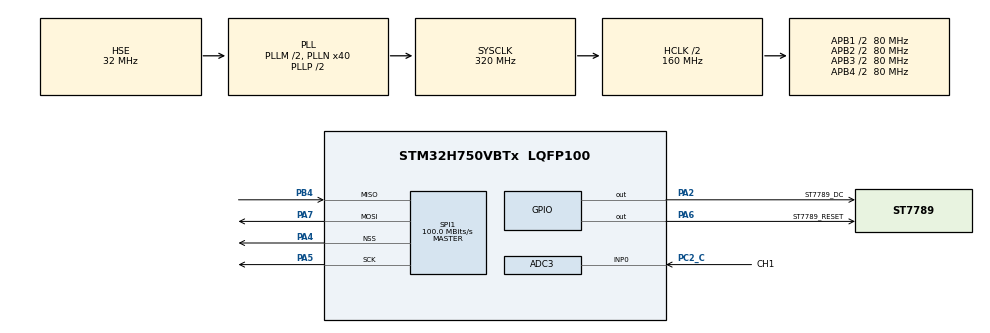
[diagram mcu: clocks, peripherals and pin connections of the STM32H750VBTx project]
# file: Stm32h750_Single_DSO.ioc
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ADC3.Channel-0\#ChannelRegularConversion=ADC_CHANNEL_0
ADC3.ConversionDataManagement=ADC_CONVERSIONDATA_DMA_CIRCULAR
ADC3.EnableAnalogWatchDog1=false
ADC3.ExternalTrigConv=ADC_EXTERNALTRIG_T2_TRGO
ADC3.NbrOfConversion=1
ADC3.NbrOfConversionFlag=1
ADC3.OffsetNumber-0\#ChannelRegularConversion=ADC_OFFSET_NONE
ADC3.OffsetSignedSaturation-0\#ChannelRegularConversion=DISABLE
ADC3.Rank-0\#ChannelRegularConversion=1
ADC3.SamplingTime-0\#ChannelRegularConversion=ADC_SAMPLETIME_64CYCLES_5
CORTEX_M7.AccessPermission_S-Cortex_Memory_Protection_Unit_Region1_Settings_S=MPU_REGION_FULL_ACCESS
CORTEX_M7.BaseAddress_S-Cortex_Memory_Protection_Unit_Region1_Settings_S=0x24000000
CORTEX_M7.CPU_DCache=Enabled
CORTEX_M7.CPU_ICache=Enabled
CORTEX_M7.DisableExec_S-Cortex_Memory_Protection_Unit_Region1_Settings_S=MPU_INSTRUCTION_ACCESS_DISABLE
CORTEX_M7.Enable_S-Cortex_Memory_Protection_Unit_Region1_Settings_S=MPU_REGION_ENABLE
CORTEX_M7.IsBufferable_S-Cortex_Memory_Protection_Unit_Region1_Settings_S=MPU_ACCESS_NOT_BUFFERABLE
CORTEX_M7.IsBufferable_Spec=MPU_ACCESS_NOT_BUFFERABLE
CORTEX_M7.IsShareable_S-Cortex_Memory_Protection_Unit_Region1_Settings_S=MPU_ACCESS_SHAREABLE
CORTEX_M7.Size_S-Cortex_Memory_Protection_Unit_Region1_Settings_S=MPU_REGION_SIZE_512KB
CORTEX_M7.default_mode_Activation=1
DMA2D.ColorMode=DMA2D_OUTPUT_RGB565
DMA2D.Mode=DMA2D_R2M
Dma.ADC3.0.Direction=DMA_PERIPH_TO_MEMORY
Dma.ADC3.0.EventEnable=DISABLE
Dma.ADC3.0.FIFOMode=DMA_FIFOMODE_ENABLE
Dma.ADC3.0.FIFOThreshold=DMA_FIFO_THRESHOLD_FULL
Dma.ADC3.0.Instance=DMA1_Stream0
Dma.ADC3.0.MemBurst=DMA_MBURST_INC8
Dma.ADC3.0.MemDataAlignment=DMA_MDATAALIGN_HALFWORD
Dma.ADC3.0.MemInc=DMA_MINC_ENABLE
Dma.ADC3.0.Mode=DMA_CIRCULAR
Dma.ADC3.0.PeriphBurst=DMA_PBURST_INC8
Dma.ADC3.0.PeriphDataAlignment=DMA_PDATAALIGN_HALFWORD
Dma.ADC3.0.PeriphInc=DMA_PINC_DISABLE
Dma.ADC3.0.Polarity=HAL_DMAMUX_REQ_GEN_RISING
Dma.ADC3.0.Priority=DMA_PRIORITY_VERY_HIGH
Dma.ADC3.0.RequestNumber=1
Dma.ADC3.0.SignalID=NONE
Dma.ADC3.0.SyncEnable=DISABLE
Dma.ADC3.0.SyncPolarity=HAL_DMAMUX_SYNC_NO_EVENT
Dma.ADC3.0.SyncRequestNumber=1
Dma.ADC3.0.SyncSignalID=NONE
Dma.Request0=ADC3
Dma.Request1=SPI1_TX
Dma.SPI1_TX.1.Direction=DMA_MEMORY_TO_PERIPH
Dma.SPI1_TX.1.EventEnable=DISABLE
Dma.SPI1_TX.1.FIFOMode=DMA_FIFOMODE_ENABLE
Dma.SPI1_TX.1.FIFOThreshold=DMA_FIFO_THRESHOLD_FULL
Dma.SPI1_TX.1.Instance=DMA1_Stream1
Dma.SPI1_TX.1.MemBurst=DMA_MBURST_SINGLE
Dma.SPI1_TX.1.MemDataAlignment=DMA_MDATAALIGN_BYTE
Dma.SPI1_TX.1.MemInc=DMA_MINC_ENABLE
Dma.SPI1_TX.1.Mode=DMA_NORMAL
Dma.SPI1_TX.1.PeriphBurst=DMA_PBURST_SINGLE
Dma.SPI1_TX.1.PeriphDataAlignment=DMA_PDATAALIGN_BYTE
Dma.SPI1_TX.1.PeriphInc=DMA_PINC_DISABLE
Dma.SPI1_TX.1.Polarity=HAL_DMAMUX_REQ_GEN_RISING
Dma.SPI1_TX.1.Priority=DMA_PRIORITY_HIGH
Dma.SPI1_TX.1.RequestNumber=1
Dma.SPI1_TX.1.SignalID=NONE
Dma.SPI1_TX.1.SyncEnable=DISABLE
Dma.SPI1_TX.1.SyncPolarity=HAL_DMAMUX_SYNC_NO_EVENT
Dma.SPI1_TX.1.SyncRequestNumber=1
Dma.SPI1_TX.1.SyncSignalID=NONE
FREERTOS.Tasks01=UiController,40,256,UiControllerCallback,Default,NULL,Dynamic,NULL,NULL;DsoCoreTask,8,256,DsoCoreTaskCallback,Default,NULL,Dynamic,NULL,NULL;St7789Driver,48,256,St7789DriverCallback,Default,NULL,Dynamic,NULL,NULL
Mcu.Family=STM32H7
Mcu.Name=STM32H750VBTx
Mcu.Package=LQFP100
Mdma.MDMA_Channel0.Request0=SW
Mdma.MDMA_Channel0.RequestsNb=1
Mdma.MDMA_Channel0.SW.0.BlockCount=4
Mdma.MDMA_Channel0.SW.0.BlockDataLength=5000
Mdma.MDMA_Channel0.SW.0.BufferTransferLength=100
Mdma.MDMA_Channel0.SW.0.CircularMode=MDMA_LINEAR_LIST
Mdma.MDMA_Channel0.SW.0.DataAlignment=MDMA_DATAALIGN_PACKENABLE
Mdma.MDMA_Channel0.SW.0.DestBlockAddressOffset=0
Mdma.MDMA_Channel0.SW.0.DestBurst=MDMA_DEST_BURST_SINGLE
Mdma.MDMA_Channel0.SW.0.DestDataSize=MDMA_DEST_DATASIZE_HALFWORD
Mdma.MDMA_Channel0.SW.0.DestinationInc=MDMA_DEST_INC_HALFWORD
Mdma.MDMA_Channel0.SW.0.DstAddress=0
Mdma.MDMA_Channel0.SW.0.Endianness=MDMA_LITTLE_ENDIANNESS_PRESERVE
Mdma.MDMA_Channel0.SW.0.Instance=MDMA_Channel0
Mdma.MDMA_Channel0.SW.0.MaskAddress=0
Mdma.MDMA_Channel0.SW.0.MaskData=0
Mdma.MDMA_Channel0.SW.0.Priority=MDMA_PRIORITY_HIGH
Mdma.MDMA_Channel0.SW.0.Rank=First
Mdma.MDMA_Channel0.SW.0.SourceBlockAddressOffset=0
Mdma.MDMA_Channel0.SW.0.SourceBurst=MDMA_SOURCE_BURST_SINGLE
Mdma.MDMA_Channel0.SW.0.SourceDataSize=MDMA_SRC_DATASIZE_HALFWORD
Mdma.MDMA_Channel0.SW.0.SourceInc=MDMA_SRC_INC_HALFWORD
Mdma.MDMA_Channel0.SW.0.SrcAddress=0
Mdma.MDMA_Channel0.SW.0.TransferTriggerMode=MDMA_FULL_TRANSFER
Mdma.RequestSet0=MDMA_Channel0
Mdma.RequestSetsNb=1
NVIC.ADC3_IRQn=true\:5\:0\:false\:false\:true\:true\:true\:true\:true
NVIC.DMA1_Stream0_IRQn=true\:5\:0\:false\:false\:true\:true\:false\:true\:true
NVIC.DMA1_Stream1_IRQn=true\:5\:0\:false\:false\:true\:true\:false\:true\:true
NVIC.DMA2D_IRQn=true\:5\:0\:false\:false\:true\:true\:true\:true\:true
NVIC.MDMA_IRQn=true\:5\:0\:false\:false\:true\:true\:false\:true\:true
NVIC.PriorityGroup=NVIC_PRIORITYGROUP_4
NVIC.SPI1_IRQn=true\:5\:0\:false\:false\:true\:true\:false\:true\:true
NVIC.TIM1_UP_IRQn=true\:5\:0\:false\:false\:true\:true\:true\:true\:true
NVIC.TIM2_IRQn=true\:5\:0\:false\:false\:true\:true\:true\:true\:true
PA13\ (JTMS/SWDIO).Mode=Serial_Wire
PA13\ (JTMS/SWDIO).Signal=DEBUG_JTMS-SWDIO
PA14\ (JTCK/SWCLK).Mode=Serial_Wire
PA14\ (JTCK/SWCLK).Signal=DEBUG_JTCK-SWCLK
PA2.GPIO_Label=ST7789_DC
PA2.GPIO_Speed=GPIO_SPEED_FREQ_VERY_HIGH
PA2.PinState=GPIO_PIN_RESET
PA2.Signal=GPIO_Output
PA4.GPIO_Speed=GPIO_SPEED_FREQ_VERY_HIGH
PA4.Mode=NSS_Signal_Hard_Output
PA4.Signal=SPI1_NSS
PA5.GPIO_Speed=GPIO_SPEED_FREQ_VERY_HIGH
PA5.Mode=Full_Duplex_Master
PA5.Signal=SPI1_SCK
PA6.GPIO_Label=ST7789_RESET
PA6.GPIO_Speed=GPIO_SPEED_FREQ_VERY_HIGH
PA6.PinState=GPIO_PIN_RESET
PA6.Signal=GPIO_Output
PA7.GPIO_Speed=GPIO_SPEED_FREQ_VERY_HIGH
PA7.Mode=Full_Duplex_Master
PA7.Signal=SPI1_MOSI
PB4\ (NJTRST).Mode=Full_Duplex_Master
PB4\ (NJTRST).Signal=SPI1_MISO
PC2_C.GPIO_Label=CH1
PC2_C.Mode=IN0-Single-Ended
PC2_C.Signal=ADC3_INP0
PH0-OSC_IN\ (PH0).Mode=HSE-External-Oscillator
PH0-OSC_IN\ (PH0).Signal=RCC_OSC_IN
PH1-OSC_OUT\ (PH1).Mode=HSE-External-Oscillator
PH1-OSC_OUT\ (PH1).Signal=RCC_OSC_OUT
ProjectManager.HeapSize=0x200
ProjectManager.StackSize=0x400
ProjectManager.TargetToolchain=STM32CubeIDE
RCC.ADCFreq_Value=100000000
RCC.APB1Freq_Value=80000000
RCC.APB2Freq_Value=80000000
RCC.APB3Freq_Value=80000000
RCC.APB4Freq_Value=80000000
RCC.CortexFreq_Value=320000000
RCC.D1PPRE=RCC_APB3_DIV2
RCC.D2PPRE1=RCC_APB1_DIV2
RCC.D2PPRE2=RCC_APB2_DIV2
RCC.D3PPRE=RCC_APB4_DIV2
RCC.DIVM1=2
RCC.DIVM2=2
RCC.DIVM3=2
RCC.DIVN1=40
RCC.DIVN2=50
RCC.DIVN3=50
RCC.DIVP2=8
RCC.DIVP3=4
RCC.HCLKFreq_Value=160000000
RCC.HPRE=RCC_HCLK_DIV2
RCC.HSE_VALUE=32000000
RCC.PLLFRACN=0
RCC.PLLSourceVirtual=RCC_PLLSOURCE_HSE
RCC.SPI123CLockSelection=RCC_SPI123CLKSOURCE_PLL3
RCC.SYSCLKFreq_VALUE=320000000
RCC.SYSCLKSource=RCC_SYSCLKSOURCE_PLLCLK
RCC.USART16CLockSelection=RCC_USART16CLKSOURCE_HSI
RCC.USBFreq_Value=320000000
SPI1.BaudRatePrescaler=SPI_BAUDRATEPRESCALER_2
SPI1.CalculateBaudRate=100.0 MBits/s
SPI1.DataSize=SPI_DATASIZE_8BIT
SPI1.Direction=SPI_DIRECTION_2LINES
SPI1.Mode=SPI_MODE_MASTER
SPI1.VirtualNSS=VM_NSSHARD
SPI1.VirtualType=VM_MASTER
TIM1.AutoReloadPreload=TIM_AUTORELOAD_PRELOAD_ENABLE
TIM1.Channel-Output\ Compare1\ No\ Output=TIM_CHANNEL_1
TIM1.Period=29999
TIM1.Prescaler=159
TIM1.Pulse-Output\ Compare1\ No\ Output=29999
TIM2.AutoReloadPreload=TIM_AUTORELOAD_PRELOAD_ENABLE
TIM2.Period=9
TIM2.Prescaler=15
TIM2.TIM_MasterOutputTrigger=TIM_TRGO_UPDATE
VP_DMA2D_VS_DMA2D.Mode=DMA2D_Activate
VP_FREERTOS_VS_CMSIS_V2.Mode=CMSIS_V2
VP_MEMORYMAP_VS_MEMORYMAP.Mode=CurAppReg
VP_TIM1_VS_ClockSourceINT.Mode=Internal
VP_TIM1_VS_no_output1.Mode=Output Compare1 No Output
VP_TIM2_VS_ClockSourceINT.Mode=Internal
board=custom

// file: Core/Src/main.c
/* USER CODE BEGIN Header */
/**
 ******************************************************************************
 * @file           : main.c
 * @brief          : Main program body
 ******************************************************************************
 * @attention
 *
 * Copyright (c) 2026 STMicroelectronics.
 * All rights reserved.
 *
 * This software is licensed under terms that can be found in the LICENSE file
 * in the root directory of this software component.
 * If no LICENSE file comes with this software, it is provided AS-IS.
 *
 ******************************************************************************
 */
/* USER CODE END Header */
#include <GraphicsTextMenuWidget.h>
#include "main.h"
#include "cmsis_os.h"

/* USER CODE BEGIN Includes */
#include "St7789.h"
#include "St7789Task.h"
#include "UiDisplayBridge.h"
#include "MainScreen.h"
#include "stdio.h"
#include "DsoCoreTask.h"
#include "UiControllerTask.h"
#include "Timer.h"
#include "MdmaCopy.h"
#include "Acquisittion.h"
#include "Benchmark.h"

#include "GraphicsDigitSectorWidget.h"
/* USER CODE END Includes */

/* USER CODE BEGIN PD */
#define ST7789_COLUMN_SIZE													240
#define ST7789_ROW_SIZE														320
#define ST7789_DMA_MEMORY_SIZE												1440
/* USER CODE END PD */

ADC_HandleTypeDef hadc3;
DMA_HandleTypeDef hdma_adc3;

DMA2D_HandleTypeDef hdma2d;

SPI_HandleTypeDef hspi1;
DMA_HandleTypeDef hdma_spi1_tx;

TIM_HandleTypeDef htim1;
TIM_HandleTypeDef htim2;

MDMA_HandleTypeDef hmdma_mdma_channel0_sw_0;
/* Definitions for UiController */
osThreadId_t UiControllerHandle;
const osThreadAttr_t UiController_attributes = {
  .name = "UiController",
  .stack_size = 256 * 4,
  .priority = (osPriority_t) osPriorityHigh,
};
/* Definitions for DsoCoreTask */
osThreadId_t DsoCoreTaskHandle;
const osThreadAttr_t DsoCoreTask_attributes = {
  .name = "DsoCoreTask",
  .stack_size = 256 * 4,
  .priority = (osPriority_t) osPriorityLow,
};
/* Definitions for St7789Driver */
osThreadId_t St7789DriverHandle;
const osThreadAttr_t St7789Driver_attributes = {
  .name = "St7789Driver",
  .stack_size = 256 * 4,
  .priority = (osPriority_t) osPriorityRealtime,
};
/* USER CODE BEGIN PV */
St7789Config tft7789;
/* USER CODE END PV */

void SystemClock_Config(void);
static void MPU_Config(void);
static void MX_GPIO_Init(void);
static void MX_DMA_Init(void);
static void MX_MDMA_Init(void);
static void MX_ADC3_Init(void);
static void MX_TIM1_Init(void);
static void MX_DMA2D_Init(void);
static void MX_TIM2_Init(void);
void UiControllerCallback(void *argument);
void DsoCoreTaskCallback(void *argument);
void St7789DriverCallback(void *argument);

/* USER CODE BEGIN PFP */
static void St7789DriverSetup(St7789Config *config);
/* USER CODE END PFP */

int main(void)
{

  /* MPU Configuration--------------------------------------------------------*/
  MPU_Config();

  /* Enable the CPU Cache */

  /* Enable I-Cache---------------------------------------------------------*/
  SCB_EnableICache();

  /* Enable D-Cache---------------------------------------------------------*/
  SCB_EnableDCache();

  /* MCU Configuration--------------------------------------------------------*/

  /* Reset of all peripherals, Initializes the Flash interface and the Systick. */
  HAL_Init();

  /* Configure the system clock */
  SystemClock_Config();

  /* Initialize all configured peripherals */
  MX_GPIO_Init();
  MX_DMA_Init();
  MX_MDMA_Init();
  MX_SPI1_Init();
  MX_ADC3_Init();
  MX_TIM1_Init();
  MX_DMA2D_Init();
  MX_TIM2_Init();
  /* USER CODE BEGIN 2 */
	DWT_Enable();
	TimerInit(&htim1, &htim2);
	AcquisittionInit(&hadc3);
  /* USER CODE END 2 */

  /* Init scheduler */
  osKernelInitialize();

  /* USER CODE BEGIN RTOS_QUEUES */
	/* add queues, ... */
	St7789QueueInit();
	St7789DmaMemoryInit();
	UiControllerQueueInit();
	DsoCoreQueueInit();
  /* USER CODE END RTOS_QUEUES */

  /* Create the thread(s) */
  /* creation of UiController */
  UiControllerHandle = osThreadNew(UiControllerCallback, NULL, &UiController_attributes);

  /* creation of DsoCoreTask */
  DsoCoreTaskHandle = osThreadNew(DsoCoreTaskCallback, NULL, &DsoCoreTask_attributes);

  /* creation of St7789Driver */
  St7789DriverHandle = osThreadNew(St7789DriverCallback, NULL, &St7789Driver_attributes);

  /* Start scheduler */
  osKernelStart();

  /* We should never get here as control is now taken by the scheduler */

  /* Infinite loop */
	while (1) {

	}
}

void SystemClock_Config(void)
{
  RCC_OscInitTypeDef RCC_OscInitStruct = {0};
  RCC_ClkInitTypeDef RCC_ClkInitStruct = {0};

  /** Supply configuration update enable
  */
  HAL_PWREx_ConfigSupply(PWR_LDO_SUPPLY);

  /** Configure the main internal regulator output voltage
  */
  __HAL_PWR_VOLTAGESCALING_CONFIG(PWR_REGULATOR_VOLTAGE_SCALE1);

  while(!__HAL_PWR_GET_FLAG(PWR_FLAG_VOSRDY)) {}

  /** Initializes the RCC Oscillators according to the specified parameters
  * in the RCC_OscInitTypeDef structure.
  */
  RCC_OscInitStruct.OscillatorType = RCC_OSCILLATORTYPE_HSE;
  RCC_OscInitStruct.HSEState = RCC_HSE_ON;
  RCC_OscInitStruct.PLL.PLLState = RCC_PLL_ON;
  RCC_OscInitStruct.PLL.PLLSource = RCC_PLLSOURCE_HSE;
  RCC_OscInitStruct.PLL.PLLM = 2;
  RCC_OscInitStruct.PLL.PLLN = 40;
  RCC_OscInitStruct.PLL.PLLP = 2;
  RCC_OscInitStruct.PLL.PLLQ = 2;
  RCC_OscInitStruct.PLL.PLLR = 2;
  RCC_OscInitStruct.PLL.PLLRGE = RCC_PLL1VCIRANGE_3;
  RCC_OscInitStruct.PLL.PLLVCOSEL = RCC_PLL1VCOWIDE;
  RCC_OscInitStruct.PLL.PLLFRACN = 0;
  if (HAL_RCC_OscConfig(&RCC_OscInitStruct) != HAL_OK)
  {
    Error_Handler();
  }

  /** Initializes the CPU, AHB and APB buses clocks
  */
  RCC_ClkInitStruct.ClockType = RCC_CLOCKTYPE_HCLK|RCC_CLOCKTYPE_SYSCLK
                              |RCC_CLOCKTYPE_PCLK1|RCC_CLOCKTYPE_PCLK2
                              |RCC_CLOCKTYPE_D3PCLK1|RCC_CLOCKTYPE_D1PCLK1;
  RCC_ClkInitStruct.SYSCLKSource = RCC_SYSCLKSOURCE_PLLCLK;
  RCC_ClkInitStruct.SYSCLKDivider = RCC_SYSCLK_DIV1;
  RCC_ClkInitStruct.AHBCLKDivider = RCC_HCLK_DIV2;
  RCC_ClkInitStruct.APB3CLKDivider = RCC_APB3_DIV2;
  RCC_ClkInitStruct.APB1CLKDivider = RCC_APB1_DIV2;
  RCC_ClkInitStruct.APB2CLKDivider = RCC_APB2_DIV2;
  RCC_ClkInitStruct.APB4CLKDivider = RCC_APB4_DIV2;

  if (HAL_RCC_ClockConfig(&RCC_ClkInitStruct, FLASH_LATENCY_2) != HAL_OK)
  {
    Error_Handler();
  }
}

static void MX_ADC3_Init(void)
{

  ADC_ChannelConfTypeDef sConfig = {0};

  /** Common config
  */
  hadc3.Instance = ADC3;
  hadc3.Init.ClockPrescaler = ADC_CLOCK_ASYNC_DIV1;
  hadc3.Init.Resolution = ADC_RESOLUTION_16B;
  hadc3.Init.ScanConvMode = ADC_SCAN_DISABLE;
  hadc3.Init.EOCSelection = ADC_EOC_SINGLE_CONV;
  hadc3.Init.LowPowerAutoWait = DISABLE;
  hadc3.Init.ContinuousConvMode = DISABLE;
  hadc3.Init.NbrOfConversion = 1;
  hadc3.Init.DiscontinuousConvMode = DISABLE;
  hadc3.Init.ExternalTrigConv = ADC_EXTERNALTRIG_T2_TRGO;
  hadc3.Init.ExternalTrigConvEdge = ADC_EXTERNALTRIGCONVEDGE_RISING;
  hadc3.Init.ConversionDataManagement = ADC_CONVERSIONDATA_DMA_CIRCULAR;
  hadc3.Init.Overrun = ADC_OVR_DATA_PRESERVED;
  hadc3.Init.LeftBitShift = ADC_LEFTBITSHIFT_NONE;
  hadc3.Init.OversamplingMode = DISABLE;
  hadc3.Init.Oversampling.Ratio = 1;
  if (HAL_ADC_Init(&hadc3) != HAL_OK)
  {
    Error_Handler();
  }

  /** Configure Regular Channel
  */
  sConfig.Channel = ADC_CHANNEL_0;
  sConfig.Rank = ADC_REGULAR_RANK_1;
  sConfig.SamplingTime = ADC_SAMPLETIME_64CYCLES_5;
  sConfig.SingleDiff = ADC_SINGLE_ENDED;
  sConfig.OffsetNumber = ADC_OFFSET_NONE;
  sConfig.Offset = 0;
  sConfig.OffsetSignedSaturation = DISABLE;
  if (HAL_ADC_ConfigChannel(&hadc3, &sConfig) != HAL_OK)
  {
    Error_Handler();
  }

}

static void MX_DMA2D_Init(void)
{

  hdma2d.Instance = DMA2D;
  hdma2d.Init.Mode = DMA2D_R2M;
  hdma2d.Init.ColorMode = DMA2D_OUTPUT_RGB565;
  hdma2d.Init.OutputOffset = 0;
  if (HAL_DMA2D_Init(&hdma2d) != HAL_OK)
  {
    Error_Handler();
  }

}

void MX_SPI1_Init(void)
{

  /* SPI1 parameter configuration*/
  hspi1.Instance = SPI1;
  hspi1.Init.Mode = SPI_MODE_MASTER;
  hspi1.Init.Direction = SPI_DIRECTION_2LINES;
  hspi1.Init.DataSize = SPI_DATASIZE_8BIT;
  hspi1.Init.CLKPolarity = SPI_POLARITY_LOW;
  hspi1.Init.CLKPhase = SPI_PHASE_1EDGE;
  hspi1.Init.NSS = SPI_NSS_HARD_OUTPUT;
  hspi1.Init.BaudRatePrescaler = SPI_BAUDRATEPRESCALER_2;
  hspi1.Init.FirstBit = SPI_FIRSTBIT_MSB;
  hspi1.Init.TIMode = SPI_TIMODE_DISABLE;
  hspi1.Init.CRCCalculation = SPI_CRCCALCULATION_DISABLE;
  hspi1.Init.CRCPolynomial = 0x0;
  hspi1.Init.NSSPMode = SPI_NSS_PULSE_ENABLE;
  hspi1.Init.NSSPolarity = SPI_NSS_POLARITY_LOW;
  hspi1.Init.FifoThreshold = SPI_FIFO_THRESHOLD_01DATA;
  hspi1.Init.TxCRCInitializationPattern = SPI_CRC_INITIALIZATION_ALL_ZERO_PATTERN;
  hspi1.Init.RxCRCInitializationPattern = SPI_CRC_INITIALIZATION_ALL_ZERO_PATTERN;
  hspi1.Init.MasterSSIdleness = SPI_MASTER_SS_IDLENESS_00CYCLE;
  hspi1.Init.MasterInterDataIdleness = SPI_MASTER_INTERDATA_IDLENESS_00CYCLE;
  hspi1.Init.MasterReceiverAutoSusp = SPI_MASTER_RX_AUTOSUSP_DISABLE;
  hspi1.Init.MasterKeepIOState = SPI_MASTER_KEEP_IO_STATE_DISABLE;
  hspi1.Init.IOSwap = SPI_IO_SWAP_DISABLE;
  if (HAL_SPI_Init(&hspi1) != HAL_OK)
  {
    Error_Handler();
  }

}

static void MX_TIM1_Init(void)
{

  TIM_ClockConfigTypeDef sClockSourceConfig = {0};
  TIM_MasterConfigTypeDef sMasterConfig = {0};
  TIM_OC_InitTypeDef sConfigOC = {0};
  TIM_BreakDeadTimeConfigTypeDef sBreakDeadTimeConfig = {0};

  htim1.Instance = TIM1;
  htim1.Init.Prescaler = 159;
  htim1.Init.CounterMode = TIM_COUNTERMODE_UP;
  htim1.Init.Period = 29999;
  htim1.Init.ClockDivision = TIM_CLOCKDIVISION_DIV1;
  htim1.Init.RepetitionCounter = 0;
  htim1.Init.AutoReloadPreload = TIM_AUTORELOAD_PRELOAD_ENABLE;
  if (HAL_TIM_Base_Init(&htim1) != HAL_OK)
  {
    Error_Handler();
  }
  sClockSourceConfig.ClockSource = TIM_CLOCKSOURCE_INTERNAL;
  if (HAL_TIM_ConfigClockSource(&htim1, &sClockSourceConfig) != HAL_OK)
  {
    Error_Handler();
  }
  if (HAL_TIM_OC_Init(&htim1) != HAL_OK)
  {
    Error_Handler();
  }
  sMasterConfig.MasterOutputTrigger = TIM_TRGO_RESET;
  sMasterConfig.MasterOutputTrigger2 = TIM_TRGO2_RESET;
  sMasterConfig.MasterSlaveMode = TIM_MASTERSLAVEMODE_DISABLE;
  if (HAL_TIMEx_MasterConfigSynchronization(&htim1, &sMasterConfig) != HAL_OK)
  {
    Error_Handler();
  }
  sConfigOC.OCMode = TIM_OCMODE_TIMING;
  sConfigOC.Pulse = 29999;
  sConfigOC.OCPolarity = TIM_OCPOLARITY_HIGH;
  sConfigOC.OCNPolarity = TIM_OCNPOLARITY_HIGH;
  sConfigOC.OCFastMode = TIM_OCFAST_DISABLE;
  sConfigOC.OCIdleState = TIM_OCIDLESTATE_RESET;
  sConfigOC.OCNIdleState = TIM_OCNIDLESTATE_RESET;
  if (HAL_TIM_OC_ConfigChannel(&htim1, &sConfigOC, TIM_CHANNEL_1) != HAL_OK)
  {
    Error_Handler();
  }
  sBreakDeadTimeConfig.OffStateRunMode = TIM_OSSR_DISABLE;
  sBreakDeadTimeConfig.OffStateIDLEMode = TIM_OSSI_DISABLE;
  sBreakDeadTimeConfig.LockLevel = TIM_LOCKLEVEL_OFF;
  sBreakDeadTimeConfig.DeadTime = 0;
  sBreakDeadTimeConfig.BreakState = TIM_BREAK_DISABLE;
  sBreakDeadTimeConfig.BreakPolarity = TIM_BREAKPOLARITY_HIGH;
  sBreakDeadTimeConfig.BreakFilter = 0;
  sBreakDeadTimeConfig.Break2State = TIM_BREAK2_DISABLE;
  sBreakDeadTimeConfig.Break2Polarity = TIM_BREAK2POLARITY_HIGH;
  sBreakDeadTimeConfig.Break2Filter = 0;
  sBreakDeadTimeConfig.AutomaticOutput = TIM_AUTOMATICOUTPUT_DISABLE;
  if (HAL_TIMEx_ConfigBreakDeadTime(&htim1, &sBreakDeadTimeConfig) != HAL_OK)
  {
    Error_Handler();
  }

}

static void MX_TIM2_Init(void)
{

  TIM_ClockConfigTypeDef sClockSourceConfig = {0};
  TIM_MasterConfigTypeDef sMasterConfig = {0};

  htim2.Instance = TIM2;
  htim2.Init.Prescaler = 15;
  htim2.Init.CounterMode = TIM_COUNTERMODE_UP;
  htim2.Init.Period = 9;
  htim2.Init.ClockDivision = TIM_CLOCKDIVISION_DIV1;
  htim2.Init.AutoReloadPreload = TIM_AUTORELOAD_PRELOAD_ENABLE;
  if (HAL_TIM_Base_Init(&htim2) != HAL_OK)
  {
    Error_Handler();
  }
  sClockSourceConfig.ClockSource = TIM_CLOCKSOURCE_INTERNAL;
  if (HAL_TIM_ConfigClockSource(&htim2, &sClockSourceConfig) != HAL_OK)
  {
    Error_Handler();
  }
  sMasterConfig.MasterOutputTrigger = TIM_TRGO_UPDATE;
  sMasterConfig.MasterSlaveMode = TIM_MASTERSLAVEMODE_DISABLE;
  if (HAL_TIMEx_MasterConfigSynchronization(&htim2, &sMasterConfig) != HAL_OK)
  {
    Error_Handler();
  }

}

static void MX_DMA_Init(void)
{

  /* DMA controller clock enable */
  __HAL_RCC_DMA1_CLK_ENABLE();

  /* DMA interrupt init */
  /* DMA1_Stream0_IRQn interrupt configuration */
  HAL_NVIC_SetPriority(DMA1_Stream0_IRQn, 5, 0);
  HAL_NVIC_EnableIRQ(DMA1_Stream0_IRQn);
  /* DMA1_Stream1_IRQn interrupt configuration */
  HAL_NVIC_SetPriority(DMA1_Stream1_IRQn, 5, 0);
  HAL_NVIC_EnableIRQ(DMA1_Stream1_IRQn);

}

/**
  * Enable MDMA controller clock
  * Configure MDMA for global transfers
  *   hmdma_mdma_channel0_sw_0
  */
static void MX_MDMA_Init(void)
{

  /* MDMA controller clock enable */
  __HAL_RCC_MDMA_CLK_ENABLE();
  /* Local variables */

  /* Configure MDMA channel MDMA_Channel0 */
  /* Configure MDMA request hmdma_mdma_channel0_sw_0 on MDMA_Channel0 */
  hmdma_mdma_channel0_sw_0.Instance = MDMA_Channel0;
  hmdma_mdma_channel0_sw_0.Init.Request = MDMA_REQUEST_SW;
  hmdma_mdma_channel0_sw_0.Init.TransferTriggerMode = MDMA_FULL_TRANSFER;
  hmdma_mdma_channel0_sw_0.Init.Priority = MDMA_PRIORITY_HIGH;
  hmdma_mdma_channel0_sw_0.Init.Endianness = MDMA_LITTLE_ENDIANNESS_PRESERVE;
  hmdma_mdma_channel0_sw_0.Init.SourceInc = MDMA_SRC_INC_HALFWORD;
  hmdma_mdma_channel0_sw_0.Init.DestinationInc = MDMA_DEST_INC_HALFWORD;
  hmdma_mdma_channel0_sw_0.Init.SourceDataSize = MDMA_SRC_DATASIZE_HALFWORD;
  hmdma_mdma_channel0_sw_0.Init.DestDataSize = MDMA_DEST_DATASIZE_HALFWORD;
  hmdma_mdma_channel0_sw_0.Init.DataAlignment = MDMA_DATAALIGN_PACKENABLE;
  hmdma_mdma_channel0_sw_0.Init.BufferTransferLength = 100;
  hmdma_mdma_channel0_sw_0.Init.SourceBurst = MDMA_SOURCE_BURST_SINGLE;
  hmdma_mdma_channel0_sw_0.Init.DestBurst = MDMA_DEST_BURST_SINGLE;
  hmdma_mdma_channel0_sw_0.Init.SourceBlockAddressOffset = 0;
  hmdma_mdma_channel0_sw_0.Init.DestBlockAddressOffset = 0;
  if (HAL_MDMA_Init(&hmdma_mdma_channel0_sw_0) != HAL_OK)
  {
    Error_Handler();
  }

  /* MDMA interrupt initialization */
  /* MDMA_IRQn interrupt configuration */
  HAL_NVIC_SetPriority(MDMA_IRQn, 5, 0);
  HAL_NVIC_EnableIRQ(MDMA_IRQn);

}

static void MX_GPIO_Init(void)
{
  GPIO_InitTypeDef GPIO_InitStruct = {0};

  /* GPIO Ports Clock Enable */
  __HAL_RCC_GPIOH_CLK_ENABLE();
  __HAL_RCC_GPIOC_CLK_ENABLE();
  __HAL_RCC_GPIOA_CLK_ENABLE();
  __HAL_RCC_GPIOB_CLK_ENABLE();

  /*Configure GPIO pin Output Level */
  HAL_GPIO_WritePin(GPIOA, ST7789_DC_Pin|ST7789_RESET_Pin, GPIO_PIN_RESET);

  /*Configure GPIO pins : ST7789_DC_Pin ST7789_RESET_Pin */
  GPIO_InitStruct.Pin = ST7789_DC_Pin|ST7789_RESET_Pin;
  GPIO_InitStruct.Mode = GPIO_MODE_OUTPUT_PP;
  GPIO_InitStruct.Pull = GPIO_NOPULL;
  GPIO_InitStruct.Speed = GPIO_SPEED_FREQ_VERY_HIGH;
  HAL_GPIO_Init(GPIOA, &GPIO_InitStruct);

}

/* USER CODE BEGIN 4 */
static void St7789DriverSetup(St7789Config *config) {
	config->spi = &hspi1;
	config->size = (St7789Size ) { ST7789_COLUMN_SIZE, ST7789_ROW_SIZE };
	config->format = CONTROL_INTERFACE_FORMAT_16BIT;
	config->rst = (St7789Gpio ) { GPIOA, ST7789_RESET_Pin };
	config->dc = (St7789Gpio ) { GPIOA, ST7789_DC_Pin };
	config->rotate = ST7789_DISPLAY_RIGHT;
	St7789Init(config);
}
/* USER CODE END 4 */

void UiControllerCallback(void *argument)
{
  /* USER CODE BEGIN 5 */
	/* Infinite loop */
	GraphicsInit(&hdma2d);
	static GraphicsDigitSectorWidget digitSectorWidget = {
	    .x = 0,
	    .y = 0,
	    .width = 320,
	    .height = 240,
	    .background = 0x00,
	    .itemsDisplay = 3,
	    .padding = 10,
	    .selectorControlStyle = {
	        .width = 70,
	        .height = 200,
	        .borderColor = 0xFF,
	        .borderWidth = 5,
	        .fontPixel = 3,
	        .increment = {
	            .size = 4,
	            .color = 0xFF0000
	        },
	        .decrement = {
	            .size = 4,
	            .color = 0x0000FF
	        },
	        .background = 0xFFFFFF,
	        .borderHighlightColor = 0xF0F0,
	        .textColor = 0x0000,
	        .paddingLeftRight = 10,
			.paddingTopBottom = 10
	    },
	    .value = 1234,
	    .maxValue = 6000,
	    .minValue = 1,
	    .spacing = 5,
	    .selectedIndex = 0
	};
	GraphicsDrawDigitSectorWidget(&digitSectorWidget);
	for (;;) {
  		UiControllerMsgRead(UiControllerTaskHandle, UI_CONTROLLER_TASK_TIME_FOREVER);
	}
  /* USER CODE END 5 */
}

void DsoCoreTaskCallback(void *argument)
{
  /* USER CODE BEGIN DsoCoreTaskCallback */
	/* Infinite loop */
	ulTaskNotifyTake(pdTRUE, portMAX_DELAY);
	DsoCoreInit();
	MdmaCopyInit(&hmdma_mdma_channel0_sw_0);
	for (;;) {
		DsoCoreMsgRead(DsoCoreHandle, DSO_CORE_TIME_FOREVER);
	}
  /* USER CODE END DsoCoreTaskCallback */
}

void St7789DriverCallback(void *argument)
{
  /* USER CODE BEGIN St7789DriverCallback */
	/* Infinite loop */
	St7789DriverSetup(&tft7789);
	St7789Msg *msg;
	for (;;) {
		St7789ReadyQueuePop(&msg, ST7789_TIMEOUT_FOREVER);
		St7789TaskHandle(msg);
		St7789FreeQueuePush(msg, ST7789_TIMEOUT_FOREVER);
	}
  /* USER CODE END St7789DriverCallback */
}

 /* MPU Configuration */

void MPU_Config(void)
{
  MPU_Region_InitTypeDef MPU_InitStruct = {0};

  /* Disables the MPU */
  HAL_MPU_Disable();

  /** Initializes and configures the Region and the memory to be protected
  */
  MPU_InitStruct.Enable = MPU_REGION_ENABLE;
  MPU_InitStruct.Number = MPU_REGION_NUMBER0;
  MPU_InitStruct.BaseAddress = 0x0;
  MPU_InitStruct.Size = MPU_REGION_SIZE_4GB;
  MPU_InitStruct.SubRegionDisable = 0x87;
  MPU_InitStruct.TypeExtField = MPU_TEX_LEVEL0;
  MPU_InitStruct.AccessPermission = MPU_REGION_NO_ACCESS;
  MPU_InitStruct.DisableExec = MPU_INSTRUCTION_ACCESS_DISABLE;
  MPU_InitStruct.IsShareable = MPU_ACCESS_SHAREABLE;
  MPU_InitStruct.IsCacheable = MPU_ACCESS_NOT_CACHEABLE;
  MPU_InitStruct.IsBufferable = MPU_ACCESS_NOT_BUFFERABLE;

  HAL_MPU_ConfigRegion(&MPU_InitStruct);

  /** Initializes and configures the Region and the memory to be protected
  */
  MPU_InitStruct.Number = MPU_REGION_NUMBER1;
  MPU_InitStruct.BaseAddress = 0x24000000;
  MPU_InitStruct.Size = MPU_REGION_SIZE_512KB;
  MPU_InitStruct.SubRegionDisable = 0x0;
  MPU_InitStruct.AccessPermission = MPU_REGION_FULL_ACCESS;

  HAL_MPU_ConfigRegion(&MPU_InitStruct);
  /* Enables the MPU */
  HAL_MPU_Enable(MPU_PRIVILEGED_DEFAULT);

}

void Error_Handler(void)
{
	__disable_irq();
	while (1) {
	}
}
